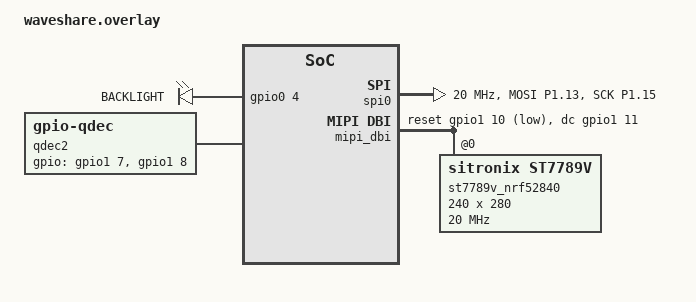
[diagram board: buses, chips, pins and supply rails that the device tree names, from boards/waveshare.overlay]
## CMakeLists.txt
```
# SPDX-License-Identifier: Apache-2.0

cmake_minimum_required(VERSION 3.20.0)

find_package(Zephyr REQUIRED HINTS $ENV{ZEPHYR_BASE})
project(lvgl_display)

FILE(GLOB app_sources src/*.c)
target_sources(app PRIVATE ${app_sources})
```

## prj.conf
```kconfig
CONFIG_LV_Z_MEM_POOL_SIZE=16384
CONFIG_LV_Z_SHELL=y
CONFIG_MAIN_STACK_SIZE=4096

CONFIG_DISPLAY=y
CONFIG_DISPLAY_LOG_LEVEL_ERR=y

CONFIG_LOG=y
CONFIG_SHELL=y

CONFIG_LVGL=y
CONFIG_LV_USE_LOG=y
CONFIG_LV_USE_LABEL=y
CONFIG_LV_USE_ARC=y
CONFIG_LV_USE_MONKEY=y
CONFIG_LV_FONT_MONTSERRAT_24=y

# to enable encoder
CONFIG_INPUT=y
# LVGL expects LSB first, but st7789 sends MSB first so swap is necessary
CONFIG_LV_COLOR_16_SWAP=y

CONFIG_LV_Z_ENCODER_INPUT=y
```

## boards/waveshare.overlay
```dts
#include <zephyr/dt-bindings/mipi_dbi/mipi_dbi.h>

&pinctrl {
    spi0_default_alt: spi0_default_alt {
        group1 {
            psels = <NRF_PSEL(SPIM_MOSI, 1, 13)>,
                    <NRF_PSEL(SPIM_SCK,  1, 15)>;
        };
        // group2 {
        //     psels = <NRF_PSEL(SPIM_MISO, 1, 14)>;
        //     bias-pull-down;
        // };
    };

    spi0_sleep_alt: spi0_sleep_alt {
        group1 {
            psels = <NRF_PSEL(SPIM_MOSI, 1, 13)>,
                    <NRF_PSEL(SPIM_SCK,  1, 15)>;
                    // <NRF_PSEL(SPIM_MISO, 1, 14)>;
            low-power-enable;
        };
    };

};

&spi0 {
    status = "okay";
    clock-frequency = <20000000>;
    cs-gpios = <&gpio1 12 GPIO_ACTIVE_LOW>;
    pinctrl-0 = <&spi0_default_alt>;
    pinctrl-1 = <&spi0_sleep_alt>;
    pinctrl-names = "default", "sleep";
};

&gpio1 {
    status = "okay";
};

&{/} {
    mipi_dbi {
        compatible = "zephyr,mipi-dbi-spi";
        reset-gpios = <&gpio1 10 GPIO_ACTIVE_LOW>;
        dc-gpios = <&gpio1 11 GPIO_ACTIVE_HIGH>;
        spi-dev = <&spi0>;
        #address-cells = <1>;
        #size-cells = <0>;

        st7789v_nrf52840: st7789@0 {
            compatible = "sitronix,st7789v";
            reg = <0>;
            mipi-max-frequency = <20000000>;
            mipi-mode = "MIPI_DBI_MODE_SPI_4WIRE";
            width = <240>;
            height = <280>;
            x-offset = <0>;
            y-offset = <20>;
            vcom = <0x19>;
            gctrl = <0x35>;
            vrhs = <0x12>;
            vdvs = <0x20>;
            mdac = <0x00>;
            gamma = <0x01>;
            colmod = <0x55>;
            lcm = <0x2c>;
            porch-param = [0c 0c 00 33 33];
            cmd2en-param = [5a 69 02 01];
            pwctrl1-param = [a4 a1];
            pvgam-param = [D0 04 0D 11 13 2B 3F 54 4C 18 0D 0B 1F 23];
		    nvgam-param = [D0 04 0C 11 13 2C 3F 44 51 2F 1F 1F 20 23];
            ram-param = [00 F0];
            rgb-param = [CD 08 14];
            // inversion-off;
        };
    };

    backlight {
        compatible = "gpio-leds";
        backlight0: backlight_0 {
            gpios = <&gpio0 4 GPIO_ACTIVE_HIGH>;
            label = "BACKLIGHT";
        };
    };

    qdec2: qdec {
        status = "okay";
        compatible = "gpio-qdec";
        gpios = <&gpio1 7 (GPIO_PULL_UP | GPIO_ACTIVE_HIGH)>,
                <&gpio1 8 (GPIO_PULL_UP | GPIO_ACTIVE_HIGH)>;
        zephyr,axis = <INPUT_REL_WHEEL>;
        steps-per-period = <4>;
        sample-time-us = <2000>;
        idle-timeout-ms = <200>;
    };

    encoder {
        status = "okay";
        compatible = "zephyr,lvgl-encoder-input";
        rotation-input-code = <INPUT_REL_WHEEL>;
        // button-input-code = <INPUT_KEY_0>;
        input = <&qdec2>;
    };

    

    chosen {
        zephyr,display = &st7789v_nrf52840;
    };

    aliases {
        backlight = &backlight0;

    };


};
```

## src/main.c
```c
/*
 * Copyright (c) 2018 Jan Van Winkel <jan.van_winkel@dxplore.eu>
 *
 * SPDX-License-Identifier: Apache-2.0
 */

#include <zephyr/device.h>
#include <zephyr/devicetree.h>
#include <zephyr/drivers/display.h>
#include <zephyr/drivers/gpio.h>
#include <lvgl.h>
#include <stdio.h>
#include <string.h>
#include <zephyr/kernel.h>
#include <lvgl_input_device.h>


#define LOG_LEVEL CONFIG_LOG_DEFAULT_LEVEL
#include <zephyr/logging/log.h>
LOG_MODULE_REGISTER(app);

static uint32_t count;

#ifdef CONFIG_RESET_COUNTER_SW0
static struct gpio_dt_spec button_gpio = GPIO_DT_SPEC_GET_OR(
		DT_ALIAS(sw0), gpios, {0});
static struct gpio_callback button_callback;

static void button_isr_callback(const struct device *port,
				struct gpio_callback *cb,
				uint32_t pins)
{
	ARG_UNUSED(port);
	ARG_UNUSED(cb);
	ARG_UNUSED(pins);

	count = 0;
}
#endif /* CONFIG_RESET_COUNTER_SW0 */

#ifdef CONFIG_LV_Z_ENCODER_INPUT
static const struct device *lvgl_encoder =
	DEVICE_DT_GET(DT_COMPAT_GET_ANY_STATUS_OKAY(zephyr_lvgl_encoder_input));
#endif /* CONFIG_LV_Z_ENCODER_INPUT */

#ifdef CONFIG_LV_Z_KEYPAD_INPUT
static const struct device *lvgl_keypad =
	DEVICE_DT_GET(DT_COMPAT_GET_ANY_STATUS_OKAY(zephyr_lvgl_keypad_input));
#endif /* CONFIG_LV_Z_KEYPAD_INPUT */

static void lv_btn_click_callback(lv_event_t *e)
{
	ARG_UNUSED(e);

	count = 0;
}

int main(void)
{
	char count_str[11] = {0};
	const struct device *display_dev;
	lv_obj_t *hello_world_label;
	lv_obj_t *count_label;

	display_dev = DEVICE_DT_GET(DT_CHOSEN(zephyr_display));
	if (!device_is_ready(display_dev)) {
		LOG_ERR("Device not ready, aborting test");
		return 0;
	}
	LOG_INF("Got device :)\n");

#ifdef CONFIG_RESET_COUNTER_SW0
	if (gpio_is_ready_dt(&button_gpio)) {
		int err;

		err = gpio_pin_configure_dt(&button_gpio, GPIO_INPUT);
		if (err) {
			LOG_ERR("failed to configure button gpio: %d", err);
			return 0;
		}

		gpio_init_callback(&button_callback, button_isr_callback,
				   BIT(button_gpio.pin));

		err = gpio_add_callback(button_gpio.port, &button_callback);
		if (err) {
			LOG_ERR("failed to add button callback: %d", err);
			return 0;
		}

		err = gpio_pin_interrupt_configure_dt(&button_gpio,
						      GPIO_INT_EDGE_TO_ACTIVE);
		if (err) {
			LOG_ERR("failed to enable button callback: %d", err);
			return 0;
		}
	}
#endif /* CONFIG_RESET_COUNTER_SW0 */

#ifdef CONFIG_LV_Z_ENCODER_INPUT
	lv_obj_t *arc = lv_arc_create(lv_scr_act());
    lv_obj_set_size(arc, 150, 150);
    lv_obj_align(arc, LV_ALIGN_CENTER, 0, 0);

    lv_group_t *arc_group = lv_group_create();
    lv_group_add_obj(arc_group, arc);

    lv_indev_t *encoder_indev = lvgl_input_get_indev(lvgl_encoder);
    lv_indev_set_group(encoder_indev, arc_group);

    // enable editing so encoder moves it
    lv_group_set_editing(arc_group, true);
#endif /* CONFIG_LV_Z_ENCODER_INPUT */

#ifdef CONFIG_LV_Z_KEYPAD_INPUT
	lv_obj_t *btn_matrix;
	lv_group_t *btn_matrix_group;
	static const char *const btnm_map[] = {"1", "2", "3", "4", ""};

	btn_matrix = lv_buttonmatrix_create(lv_screen_active());
	lv_obj_align(btn_matrix, LV_ALIGN_CENTER, 0, 70);
	lv_buttonmatrix_set_map(btn_matrix, (const char **)btnm_map);
	lv_obj_set_size(btn_matrix, 100, 50);

	btn_matrix_group = lv_group_create();
	lv_group_add_obj(btn_matrix_group, btn_matrix);
	lv_indev_set_group(lvgl_input_get_indev(lvgl_keypad), btn_matrix_group);
#endif /* CONFIG_LV_Z_KEYPAD_INPUT */

	if (IS_ENABLED(CONFIG_LV_Z_POINTER_INPUT)) {
		lv_obj_t *hello_world_button;

		hello_world_button = lv_button_create(lv_screen_active());
		lv_obj_align(hello_world_button, LV_ALIGN_CENTER, 0, -15);
		lv_obj_add_event_cb(hello_world_button, lv_btn_click_callback, LV_EVENT_CLICKED,
				    NULL);
		hello_world_label = lv_label_create(hello_world_button);
	} else {
		hello_world_label = lv_label_create(lv_screen_active());
	}

	lv_label_set_text(hello_world_label, "Hello world!");
	lv_obj_set_style_text_font(hello_world_label, &lv_font_montserrat_24, 0);
	lv_obj_align(hello_world_label, LV_ALIGN_CENTER, 0, 0);

	count_label = lv_label_create(lv_screen_active());
	lv_obj_align(count_label, LV_ALIGN_BOTTOM_MID, 0, 0);
	lv_obj_set_style_text_font(count_label, &lv_font_montserrat_24, 0);

	lv_timer_handler();
	display_blanking_off(display_dev);


	lv_obj_t *scr = lv_screen_active();
	lv_coord_t width = lv_obj_get_width(scr);
	lv_coord_t height = lv_obj_get_height(scr);

	LOG_INF("Screen size: %d x %d", width, height);
	while (1) {
		if ((count % 100) == 0U) {
			sprintf(count_str, "%d", count/100U);
			lv_label_set_text(count_label, count_str);
		}
		lv_timer_handler();
		++count;
		k_sleep(K_MSEC(10));
	}
}
```
